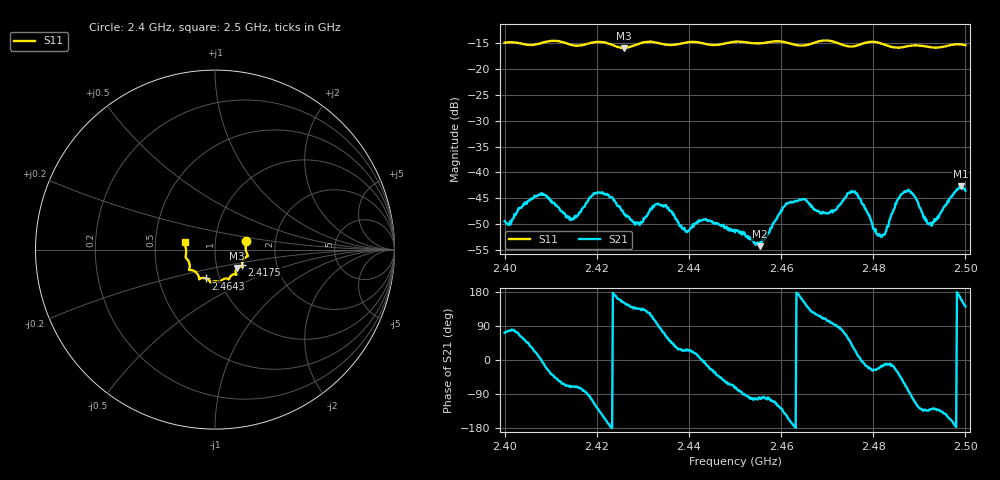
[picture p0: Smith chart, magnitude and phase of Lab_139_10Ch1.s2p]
# Hz S RI R 50
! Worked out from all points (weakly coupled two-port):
!   601 points, 2.4 GHz to 2.5 GHz, reference 50 ohm
!   highest |S21| = -42.70 dB at 2.499 GHz (marker M1); lowest = -54.2 dB at 2.4553 GHz (marker M2)
!   lowest |S11| = -15.9 dB at 2.4258 GHz (marker M3), VSWR 1.38, Z = 62.3 - j13.2 ohm
!   |S11| at or under -10 dB: start of sweep to end of sweep
!   S12 and S22 are empty: the file has one direction only
!   S11 on the Smith chart (normalised r, x): 2.4 GHz: 1.41, +0.14; 2.4175 GHz: 1.33, -0.23; 2.4643 GHz: 0.86, -0.29; 2.5 GHz: 0.72, +0.06
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2.4e9  0.1729 0.0486  0.00105 0.00322  0 0  0 0
2.407833e9  0.1765 -0.0188  0.00616 0.000347  0 0  0 0
2.414333e9  0.1643 -0.0489  0.00115 -0.0034  0 0  0 0
2.416667e9  0.1524 -0.0739  0.00105 -0.00421  0 0  0 0
2.4175e9  0.1512 -0.0836  0.000597 -0.0048  0 0  0 0
2.421e9  0.1542 -0.0975  -0.00494 -0.00392  0 0  0 0
2.425833e9  0.1219 -0.1028  -0.00355 0.00192  0 0  0 0
2.4295e9  0.1163 -0.1348  -0.00232 0.00239  0 0  0 0
2.433333e9  0.1137 -0.1374  -9.38e-05 0.005  0 0  0 0
2.439167e9  0.0796 -0.1606  0.00249 0.00119  0 0  0 0
2.45e9  0.0286 -0.1814  0.000694 -0.00254  0 0  0 0
2.455333e9  -0.000823 -0.1768  -0.000348 -0.00191  0 0  0 0
2.464333e9  -0.0498 -0.1608  -0.00519 0.00158  0 0  0 0
2.466667e9  -0.0762 -0.1587  -0.00284 0.00381  0 0  0 0
2.470667e9  -0.0883 -0.1649  -0.000644 0.00415  0 0  0 0
2.475667e9  -0.1128 -0.1208  0.00546 0.00351  0 0  0 0
2.481167e9  -0.1433 -0.1083  0.00226 -0.000941  0 0  0 0
2.483333e9  -0.1406 -0.09  0.00301 -0.000633  0 0  0 0
2.487167e9  -0.1561 -0.0536  0.00219 -0.00617  0 0  0 0
2.492333e9  -0.1613 -0.022  -0.00204 -0.00243  0 0  0 0
2.499e9  -0.1686 0.0378  -0.00691 0.00243  0 0  0 0
2.5e9  -0.1645 0.0431  -0.00522 0.00417  0 0  0 0
